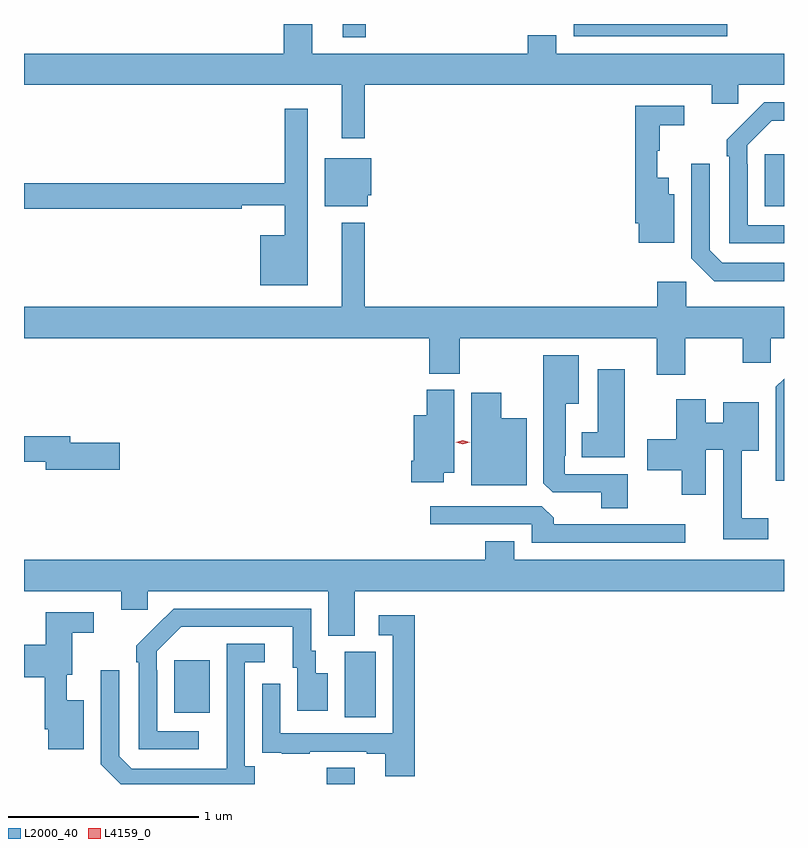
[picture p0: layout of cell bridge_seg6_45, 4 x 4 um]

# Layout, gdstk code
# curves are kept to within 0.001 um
import gdstk
lib = gdstk.Library(unit=1e-6, precision=1e-09)
def R(c, l, rs):  # rectangles x0, y0, x1, y1
    for r in rs: c.add(gdstk.rectangle(r[:2], r[2:], *l))
def P(c, l, *ps):  # polygons
    for p in ps: c.add(gdstk.Polygon(p, *l))
L2000_40 = (2000, 40)
L4159_0 = (4159, 0)

bridge_seg6_45 = lib.new_cell('bridge_seg6_45')
R(bridge_seg6_45, L2000_40, [(1054.378,980.953,1054.525,981.038), (1054.472,981.304,1054.636,981.648), (1053.575,981.329,1053.763,981.604), (1056.683,983.993,1056.785,984.268), (1054.463,984.882,1054.583,984.953), (1055.679,984.888,1056.487,984.953)])
P(bridge_seg6_45, L2000_40, [(1054.579,984.632),(1056.404,984.632),(1056.404,984.534),(1056.543,984.534),(1056.543,984.632),(1056.785,984.632),(1056.785,984.796),(1055.587,984.796),(1055.587,984.895),(1055.435,984.895),(1055.435,984.796),(1054.303,984.796),(1054.303,984.953),(1054.151,984.953),(1054.151,984.796),(1052.785,984.796),(1052.785,984.632),(1054.457,984.632),(1054.457,984.351),(1054.579,984.351)],
  [(1056.785,983.895),(1056.594,983.895),(1056.594,984.215),(1056.591,984.215),(1056.591,984.315),(1056.72,984.444),(1056.785,984.444),(1056.785,984.54),(1056.68,984.54),(1056.483,984.345),(1056.483,984.257),(1056.498,984.257),(1056.498,983.799),(1056.785,983.799)],
  [(1056.208,984.058),(1056.178,984.058),(1056.178,984.145),(1056.119,984.145),(1056.119,984.285),(1056.13,984.285),(1056.13,984.421),(1056.259,984.421),(1056.259,984.522),(1056.001,984.522),(1056.001,983.905),(1056.02,983.905),(1056.02,983.801),(1056.208,983.801)],
  [(1054.279,984.508),(1054.158,984.508),(1054.158,984.116),(1052.785,984.116),(1052.785,983.98),(1053.932,983.98),(1053.932,983.999),(1054.158,983.999),(1054.158,983.842),(1054.028,983.842),(1054.028,983.579),(1054.279,983.579)],
  [(1054.594,984.051),(1054.612,984.051),(1054.612,984.247),(1054.367,984.247),(1054.367,983.993),(1054.594,983.993)],
  [(1056.785,983.697),(1056.459,983.697),(1056.393,983.763),(1056.393,984.217),(1056.297,984.217),(1056.297,983.721),(1056.418,983.6),(1056.785,983.6)],
  [(1056.264,983.3),(1056.568,983.3),(1056.568,983.169),(1056.714,983.169),(1056.714,983.3),(1056.785,983.3),(1056.785,983.464),(1056.27,983.464),(1056.27,983.596),(1056.119,983.596),(1056.119,983.464),(1054.579,983.464),(1054.579,983.908),(1054.457,983.908),(1054.457,983.464),(1052.785,983.464),(1052.785,983.3),(1054.919,983.3),(1054.919,983.113),(1055.079,983.113),(1055.079,983.3),(1056.116,983.3),(1056.116,983.106),(1056.264,983.106)],
  [(1055.962,982.584),(1055.631,982.584),(1055.631,982.681),(1055.635,982.681),(1055.635,982.955),(1055.704,982.955),(1055.704,983.209),(1055.519,983.209),(1055.519,982.537),(1055.568,982.488),(1055.822,982.488),(1055.822,982.405),(1055.962,982.405)],
  [(1055.947,983.137),(1055.804,983.137),(1055.804,982.804),(1055.72,982.804),(1055.72,982.673),(1055.947,982.673)],
  [(1056.785,983.087),(1056.741,983.043),(1056.741,982.548),(1056.785,982.548)],
  [(1054.993,982.592),(1055.05,982.592),(1055.05,983.028),(1054.904,983.028),(1054.904,982.894),(1054.835,982.894),(1054.835,982.654),(1054.823,982.654),(1054.823,982.542),(1054.993,982.542)],
  [(1055.431,982.879),(1055.296,982.879),(1055.296,983.011),(1055.138,983.011),(1055.138,982.526),(1055.431,982.526)],
  [(1056.703,982.351),(1056.563,982.351),(1056.563,982.706),(1056.652,982.706),(1056.652,982.963),(1056.464,982.963),(1056.464,982.854),(1056.373,982.854),(1056.373,982.978),(1056.218,982.978),(1056.218,982.767),(1056.066,982.767),(1056.066,982.604),(1056.248,982.604),(1056.248,982.476),(1056.373,982.476),(1056.373,982.712),(1056.465,982.712),(1056.465,982.242),(1056.703,982.242)],
  [(1053.289,982.748),(1053.028,982.748),(1053.028,982.784),(1052.785,982.784),(1052.785,982.648),(1052.9,982.648),(1052.9,982.606),(1053.289,982.606)],
  [(1056.265,982.32),(1055.573,982.32),(1055.573,982.354),(1055.511,982.416),(1054.923,982.416),(1054.923,982.32),(1055.457,982.32),(1055.457,982.224),(1056.265,982.224)],
  [(1054.525,981.968),(1056.785,981.968),(1056.785,982.132),(1055.365,982.132),(1055.365,982.231),(1055.213,982.231),(1055.213,982.132),(1052.785,982.132),(1052.785,981.968),(1053.296,981.968),(1053.296,981.87),(1053.435,981.87),(1053.435,981.968),(1054.385,981.968),(1054.385,981.733),(1054.525,981.733)],
  [(1053.706,981.231),(1053.486,981.231),(1053.486,981.551),(1053.483,981.551),(1053.483,981.651),(1053.612,981.78),(1054.199,981.78),(1054.199,981.564),(1054.223,981.564),(1054.223,981.339),(1054.384,981.339),(1054.384,981.535),(1054.321,981.535),(1054.321,981.654),(1054.296,981.654),(1054.296,981.876),(1053.572,981.876),(1053.375,981.681),(1053.375,981.593),(1053.39,981.593),(1053.39,981.135),(1053.706,981.135)],
  [(1053.1,981.394),(1053.011,981.394),(1053.011,981.527),(1053.04,981.527),(1053.04,981.75),(1053.151,981.75),(1053.151,981.858),(1052.9,981.858),(1052.9,981.685),(1052.785,981.685),(1052.785,981.515),(1052.893,981.515),(1052.893,981.241),(1052.912,981.241),(1052.912,981.137),(1053.1,981.137)],
  [(1054.841,981.841),(1054.653,981.841),(1054.653,981.735),(1054.725,981.735),(1054.725,981.219),(1054.134,981.219),(1054.134,981.481),(1054.038,981.481),(1054.038,981.226),(1054.039,981.226),(1054.039,981.117),(1054.141,981.117),(1054.141,981.111),(1054.289,981.111),(1054.289,981.123),(1054.589,981.123),(1054.589,981.111),(1054.685,981.111),(1054.685,980.994),(1054.841,980.994)],
  [(1054,981.046),(1053.948,981.046),(1053.948,981.594),(1054.051,981.594),(1054.051,981.69),(1053.852,981.69),(1053.851,981.033),(1053.351,981.033),(1053.285,981.099),(1053.285,981.553),(1053.189,981.553),(1053.189,981.057),(1053.293,980.953),(1054,980.953)])
P(bridge_seg6_45, L4159_0, [(1055.094,982.742),(1055.057,982.751),(1055.057,982.752),(1055.057,982.752),(1055.094,982.762),(1055.13,982.752),(1055.13,982.751),(1055.13,982.751)])

lib.write_gds('bridge_seg6_45.gds')
